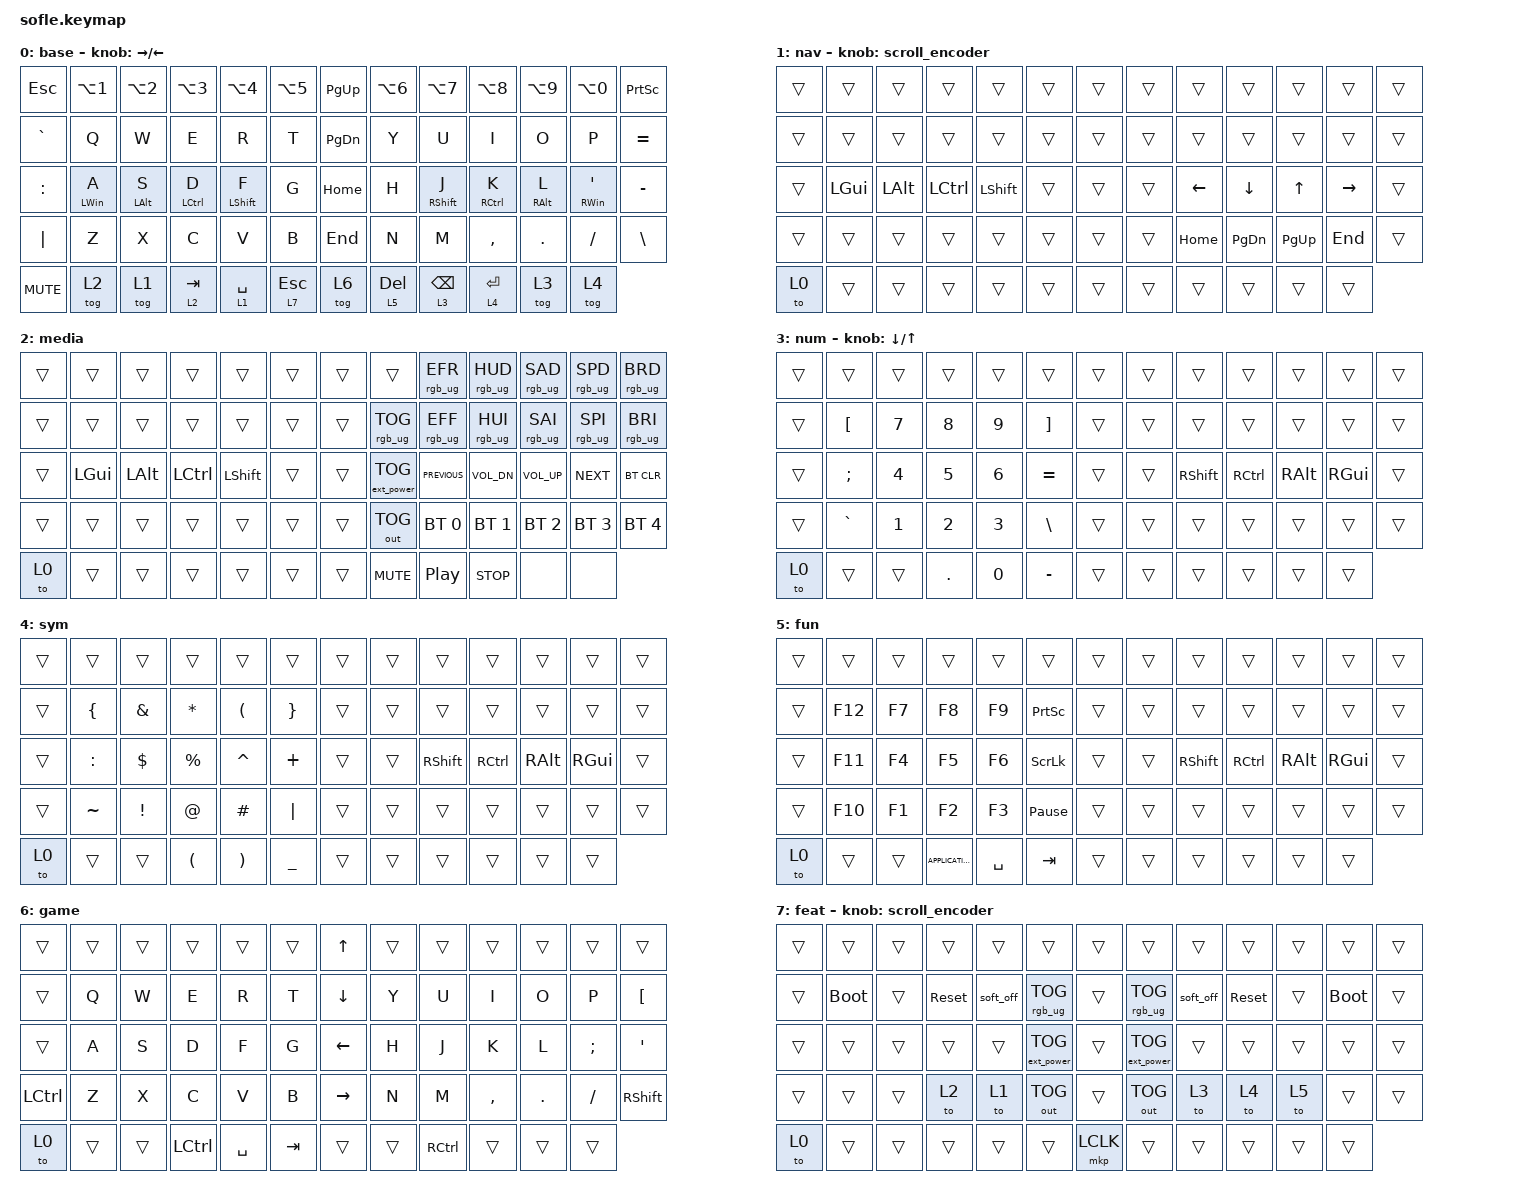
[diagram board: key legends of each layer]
#include <behaviors/mouse_keys.dtsi>
#include <behaviors.dtsi>
#include <dt-bindings/zmk/bt.h>
#include <dt-bindings/zmk/ext_power.h>
#include <dt-bindings/zmk/keys.h>
#include <dt-bindings/zmk/mouse.h>
#include <dt-bindings/zmk/outputs.h>
#include <dt-bindings/zmk/rgb.h>

#define ZMK_MOUSE_DEFAULT_MOVE_VAL 1200  // 600
#define ZMK_MOUSE_DEFAULT_SCRL_VAL 20    // 10
#define U_MS_U &mmv MOVE_UP
#define U_MS_D &mmv MOVE_DOWN
#define U_MS_L &mmv MOVE_LEFT
#define U_MS_R &mmv MOVE_RIGHT
#define ZMK_MOUSE_DEFAULT_MOVE_VAL 1200  //  600
#define ZMK_MOUSE_DEFAULT_SCRL_VAL 20    // 10

&lt {
    flavor = "hold-preferred";
    quick-tap-ms = <200>;
};

&mt {
    quick-tap-ms = <200>;
    require-prior-idle-ms = <200>;
    flavor = "tap-preferred";
};

/ {
    behaviors {
        mmv {
            acceleration-exponent = <1>;      // 1
            time-to-max-speed-ms = <900>;    // 40
            delay-ms = <0>;                   // 0
        };

        msc {
            acceleration-exponent = <1>;      // 0
            time-to-max-speed-ms = <400>;      // 500
            delay-ms = <0>;                   //   10
        };
    };

    scroll_encoder: scroll_encoder {
        compatible = "zmk,behavior-sensor-rotate";
        #sensor-binding-cells = <0>;
        bindings = <&msc SCRL_DOWN>, <&msc SCRL_UP>;

        tap-ms = <30>;
    };

    keymap {
        compatible = "zmk,keymap";

        base {
            bindings = <
&kp ESC     &kp LA(N1)  &kp LA(N2)  &kp LA(N3)   &kp LA(N4)   &kp LA(N5)    &kp PG_UP  &kp LA(N6)  &kp LA(N7)       &kp LA(N8)   &kp LA(N9)  &kp LA(N0)         &kp PRINTSCREEN
&kp GRAVE   &kp Q       &kp W       &kp E        &kp R        &kp T         &kp PG_DN  &kp Y       &kp U            &kp I        &kp O       &kp P              &kp EQUAL
&kp COLON   &mt LWIN A  &mt LALT S  &mt LCTRL D  &mt LSHFT F  &kp G         &kp HOME   &kp H       &mt RSHFT J      &mt RCTRL K  &mt RALT L  &mt RIGHT_WIN SQT  &kp MINUS
&kp PIPE    &kp Z       &kp X       &kp C        &kp V        &kp B         &kp END    &kp N       &kp M            &kp COMMA    &kp DOT     &kp FSLH           &kp BACKSLASH
&kp C_MUTE  &tog 2      &tog 1      &lt 2 TAB    &lt 1 SPACE  &lt 7 ESC     &tog 6     &lt 5 DEL   &lt 3 BACKSPACE  &lt 4 ENTER  &tog 3      &tog 4
            >;

            sensor-bindings = <&inc_dec_kp RIGHT LEFT>;
            label = "base";
        };

        nav {
            bindings = <
&trans  &trans    &trans    &trans     &trans     &trans    &trans  &trans  &trans    &trans     &trans     &trans     &trans
&trans  &trans    &trans    &trans     &trans     &trans    &trans  &trans  &trans    &trans     &trans     &trans     &trans
&trans  &kp LGUI  &kp LALT  &kp LCTRL  &kp LSHFT  &trans    &trans  &trans  &kp LEFT  &kp DOWN   &kp UP     &kp RIGHT  &trans
&trans  &trans    &trans    &trans     &trans     &trans    &trans  &trans  &kp HOME  &kp PG_DN  &kp PG_UP  &kp END    &trans
&to 0   &trans    &trans    &trans     &trans     &trans    &trans  &trans  &trans    &trans     &trans     &trans
            >;

            sensor-bindings = <&scroll_encoder>;
            label = "nav";
        };

        media {
            bindings = <
&trans  &trans    &trans    &trans     &trans     &trans    &trans  &trans             &rgb_ug RGB_EFR   &rgb_ug RGB_HUD  &rgb_ug RGB_SAD  &rgb_ug RGB_SPD  &rgb_ug RGB_BRD
&trans  &trans    &trans    &trans     &trans     &trans    &trans  &rgb_ug RGB_TOG    &rgb_ug RGB_EFF   &rgb_ug RGB_HUI  &rgb_ug RGB_SAI  &rgb_ug RGB_SPI  &rgb_ug RGB_BRI
&trans  &kp LGUI  &kp LALT  &kp LCTRL  &kp LSHFT  &trans    &trans  &ext_power EP_TOG  &kp C_PREVIOUS    &kp C_VOL_DN     &kp C_VOL_UP     &kp C_NEXT       &bt BT_CLR
&trans  &trans    &trans    &trans     &trans     &trans    &trans  &out OUT_TOG       &bt BT_SEL 0      &bt BT_SEL 1     &bt BT_SEL 2     &bt BT_SEL 3     &bt BT_SEL 4
&to 0   &trans    &trans    &trans     &trans     &trans    &trans  &kp K_MUTE         &kp C_PLAY_PAUSE  &kp C_STOP       &none            &none
            >;

            label = "media";
        };

        num {
            bindings = <
&trans  &trans     &trans  &trans   &trans  &trans       &trans  &trans  &trans     &trans     &trans    &trans    &trans
&trans  &kp LBKT   &kp N7  &kp N8   &kp N9  &kp RBKT     &trans  &trans  &trans     &trans     &trans    &trans    &trans
&trans  &kp SEMI   &kp N4  &kp N5   &kp N6  &kp EQUAL    &trans  &trans  &kp RSHFT  &kp RCTRL  &kp RALT  &kp RGUI  &trans
&trans  &kp GRAVE  &kp N1  &kp N2   &kp N3  &kp BSLH     &trans  &trans  &trans     &trans     &trans    &trans    &trans
&to 0   &trans     &trans  &kp DOT  &kp N0  &kp MINUS    &trans  &trans  &trans     &trans     &trans    &trans
            >;

            sensor-bindings = <&inc_dec_kp DOWN UP>;
            label = "num";
        };

        sym {
            bindings = <
&trans  &trans          &trans           &trans                &trans                 &trans             &trans  &trans  &trans     &trans     &trans    &trans    &trans
&trans  &kp LEFT_BRACE  &kp AMPERSAND    &kp ASTERISK          &kp LEFT_PARENTHESIS   &kp RIGHT_BRACE    &trans  &trans  &trans     &trans     &trans    &trans    &trans
&trans  &kp COLON       &kp DOLLAR       &kp PERCENT           &kp CARET              &kp PLUS           &trans  &trans  &kp RSHFT  &kp RCTRL  &kp RALT  &kp RGUI  &trans
&trans  &kp TILDE       &kp EXCLAMATION  &kp AT_SIGN           &kp HASH               &kp PIPE           &trans  &trans  &trans     &trans     &trans    &trans    &trans
&to 0   &trans          &trans           &kp LEFT_PARENTHESIS  &kp RIGHT_PARENTHESIS  &kp UNDERSCORE     &trans  &trans  &trans     &trans     &trans    &trans
            >;

            label = "sym";
        };

        fun {
            bindings = <
&trans  &trans   &trans  &trans             &trans     &trans             &trans  &trans  &trans     &trans     &trans    &trans    &trans
&trans  &kp F12  &kp F7  &kp F8             &kp F9     &kp PSCRN          &trans  &trans  &trans     &trans     &trans    &trans    &trans
&trans  &kp F11  &kp F4  &kp F5             &kp F6     &kp SCROLLLOCK     &trans  &trans  &kp RSHFT  &kp RCTRL  &kp RALT  &kp RGUI  &trans
&trans  &kp F10  &kp F1  &kp F2             &kp F3     &kp PAUSE_BREAK    &trans  &trans  &trans     &trans     &trans    &trans    &trans
&to 0   &trans   &trans  &kp K_APPLICATION  &kp SPACE  &kp TAB            &trans  &trans  &trans     &trans     &trans    &trans
            >;

            label = "fun";
        };

        game {
            bindings = <
&trans     &trans  &trans  &trans     &trans     &trans     &kp UP     &trans  &trans     &trans     &trans   &trans    &trans
&trans     &kp Q   &kp W   &kp E      &kp R      &kp T      &kp DOWN   &kp Y   &kp U      &kp I      &kp O    &kp P     &kp LBKT
&trans     &kp A   &kp S   &kp D      &kp F      &kp G      &kp LEFT   &kp H   &kp J      &kp K      &kp L    &kp SEMI  &kp APOS
&kp LCTRL  &kp Z   &kp X   &kp C      &kp V      &kp B      &kp RIGHT  &kp N   &kp M      &kp COMMA  &kp DOT  &kp FSLH  &kp RSHFT
&to 0      &trans  &trans  &kp LCTRL  &kp SPACE  &kp TAB    &trans     &trans  &kp RCTRL  &trans     &trans   &trans
            >;

            label = "game";
        };

        feat {
            bindings = <
&trans  &trans       &trans  &trans      &trans     &trans               &trans     &trans             &trans     &trans      &trans  &trans       &trans
&trans  &bootloader  &trans  &sys_reset  &soft_off  &rgb_ug RGB_TOG      &trans     &rgb_ug RGB_TOG    &soft_off  &sys_reset  &trans  &bootloader  &trans
&trans  &trans       &trans  &trans      &trans     &ext_power EP_TOG    &trans     &ext_power EP_TOG  &trans     &trans      &trans  &trans       &trans
&trans  &trans       &trans  &to 2       &to 1      &out OUT_TOG         &trans     &out OUT_TOG       &to 3      &to 4       &to 5   &trans       &trans
&to 0   &trans       &trans  &trans      &trans     &trans               &mkp LCLK  &trans             &trans     &trans      &trans  &trans
            >;

            sensor-bindings = <&scroll_encoder>;
            label = "feat";
        };
    };

    conditional_layers { compatible = "zmk,conditional-layers"; };
};
